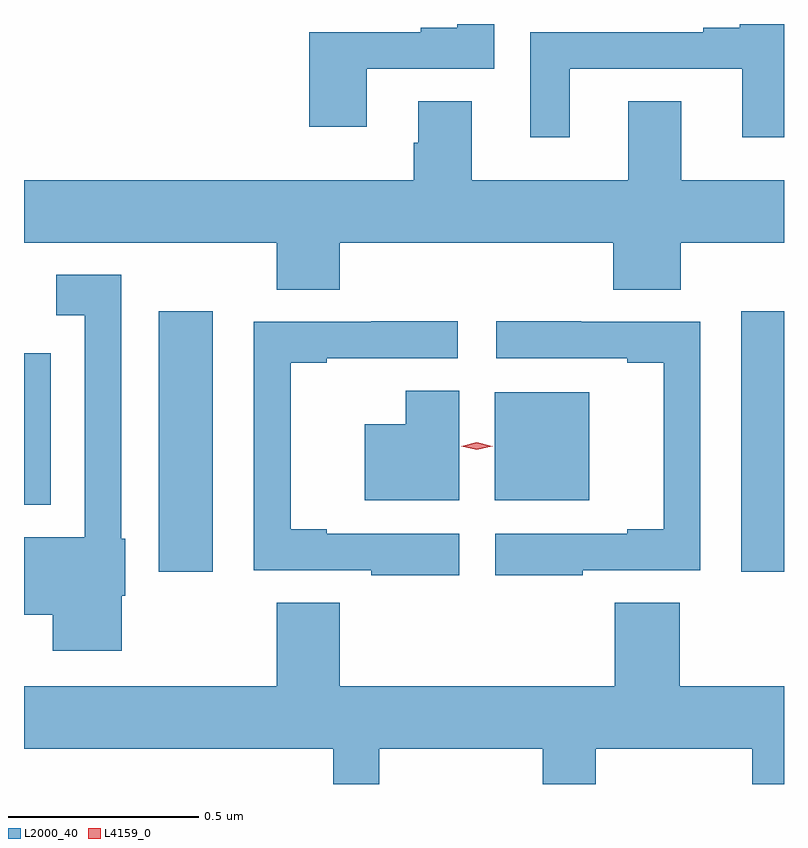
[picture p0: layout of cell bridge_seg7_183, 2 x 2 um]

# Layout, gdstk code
import gdstk
lib = gdstk.Library(unit=1e-6, precision=1e-09)
def R(c, l, rs):  # rectangles x0, y0, x1, y1
    for r in rs: c.add(gdstk.rectangle(r[:2], r[2:], *l))
def P(c, l, *ps):  # polygons
    for p in ps: c.add(gdstk.Polygon(p, *l))
L2000_40 = (2000, 40)
L4159_0 = (4159, 0)

bridge_seg7_183 = lib.new_cell('bridge_seg7_183')
R(bridge_seg7_183, L2000_40, [(449.3,1042.374,449.443,1043.059), (450.833,1042.374,450.946,1043.059), (448.946,1042.55,449.017,1042.948), (450.185,1042.562,450.433,1042.846)])
P(bridge_seg7_183, L2000_40, [(449.848,1043.697),(450.183,1043.697),(450.183,1043.815),(450.086,1043.815),(450.086,1043.805),(449.99,1043.805),(449.99,1043.793),(449.696,1043.793),(449.696,1043.544),(449.848,1043.544)],
  [(450.382,1043.697),(450.836,1043.697),(450.836,1043.517),(450.946,1043.517),(450.946,1043.815),(450.83,1043.815),(450.83,1043.805),(450.734,1043.805),(450.734,1043.793),(450.278,1043.793),(450.278,1043.517),(450.382,1043.517)],
  [(449.777,1043.24),(450.497,1043.24),(450.497,1043.116),(450.674,1043.116),(450.674,1043.24),(450.946,1043.24),(450.946,1043.404),(450.676,1043.404),(450.676,1043.612),(450.536,1043.612),(450.536,1043.404),(450.124,1043.404),(450.124,1043.612),(449.984,1043.612),(449.984,1043.502),(449.972,1043.502),(449.972,1043.404),(448.946,1043.404),(448.946,1043.24),(449.611,1043.24),(449.611,1043.116),(449.777,1043.116)],
  [(449.203,1042.311),(449.212,1042.311),(449.212,1042.461),(449.202,1042.461),(449.202,1043.155),(449.031,1043.155),(449.031,1043.049),(449.106,1043.049),(449.106,1042.465),(448.946,1042.465),(448.946,1042.26),(449.021,1042.26),(449.021,1042.166),(449.203,1042.166)],
  [(450.416,1042.377),(450.726,1042.377),(450.726,1043.031),(450.413,1043.031),(450.413,1043.033),(450.189,1043.033),(450.189,1042.935),(450.533,1042.935),(450.533,1042.923),(450.629,1042.923),(450.629,1042.486),(450.533,1042.486),(450.533,1042.473),(450.186,1042.473),(450.186,1042.365),(450.416,1042.365)],
  [(450.091,1042.473),(449.743,1042.473),(449.743,1042.486),(449.648,1042.486),(449.648,1042.923),(449.743,1042.923),(449.743,1042.935),(450.088,1042.935),(450.088,1043.033),(449.86,1043.033),(449.86,1043.031),(449.55,1043.031),(449.55,1042.377),(449.86,1042.377),(449.86,1042.365),(450.091,1042.365)],
  [(450.091,1042.85),(449.95,1042.85),(449.95,1042.762),(449.843,1042.762),(449.843,1042.562),(450.091,1042.562)],
  [(449.881,1041.908),(450.311,1041.908),(450.311,1041.815),(450.451,1041.815),(450.451,1041.908),(450.863,1041.908),(450.863,1041.815),(450.946,1041.815),(450.946,1042.072),(450.671,1042.072),(450.671,1042.292),(450.5,1042.292),(450.5,1042.072),(449.777,1042.072),(449.777,1042.292),(449.611,1042.292),(449.611,1042.072),(448.946,1042.072),(448.946,1041.908),(449.76,1041.908),(449.76,1041.815),(449.881,1041.815)])
P(bridge_seg7_183, L4159_0, [(450.138,1042.694),(450.096,1042.704),(450.096,1042.704),(450.096,1042.704),(450.138,1042.714),(450.178,1042.704),(450.179,1042.704),(450.178,1042.704)])

lib.write_gds('bridge_seg7_183.gds')
